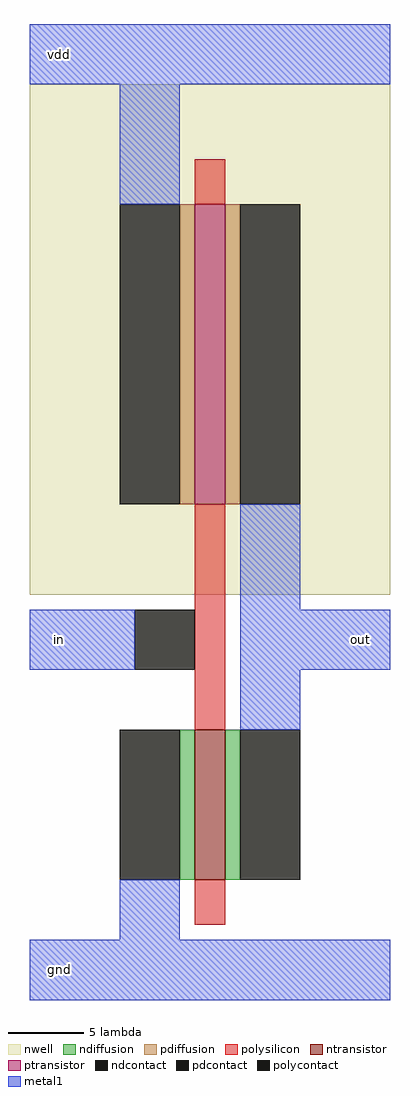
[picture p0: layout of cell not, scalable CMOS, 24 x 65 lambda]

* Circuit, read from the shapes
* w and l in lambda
.subckt not gnd in out vdd
M1 out in gnd VSUBS nfet w=10 l=2
M2 out in vdd n1 pfet w=20 l=2
.ends

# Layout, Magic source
magic
tech scmos
<< nwell >>
rect 0 0 24 34
<< ntransistor >>
rect 11 -19 13 -9
<< ptransistor >>
rect 11 6 13 26
<< ndiffusion >>
rect 10 -19 11 -9
rect 13 -19 14 -9
<< pdiffusion >>
rect 10 6 11 26
rect 13 6 14 26
<< ndcontact >>
rect 6 -19 10 -9
rect 14 -19 18 -9
<< pdcontact >>
rect 6 6 10 26
rect 14 6 18 26
<< polysilicon >>
rect 11 26 13 29
rect 11 -9 13 6
rect 11 -22 13 -19
<< polycontact >>
rect 7 -5 11 -1
<< metal1 >>
rect 0 34 24 38
rect 6 26 10 34
rect 14 -1 18 6
rect 0 -5 7 -1
rect 14 -5 24 -1
rect 14 -9 18 -5
rect 6 -23 10 -19
rect 0 -27 24 -23
<< labels >>
rlabel metal1 0 34 4 38 4 vdd
rlabel metal1 0 -5 4 -1 3 in
rlabel metal1 20 -5 24 -1 7 out
rlabel metal1 0 -27 4 -23 2 gnd
<< end >>
